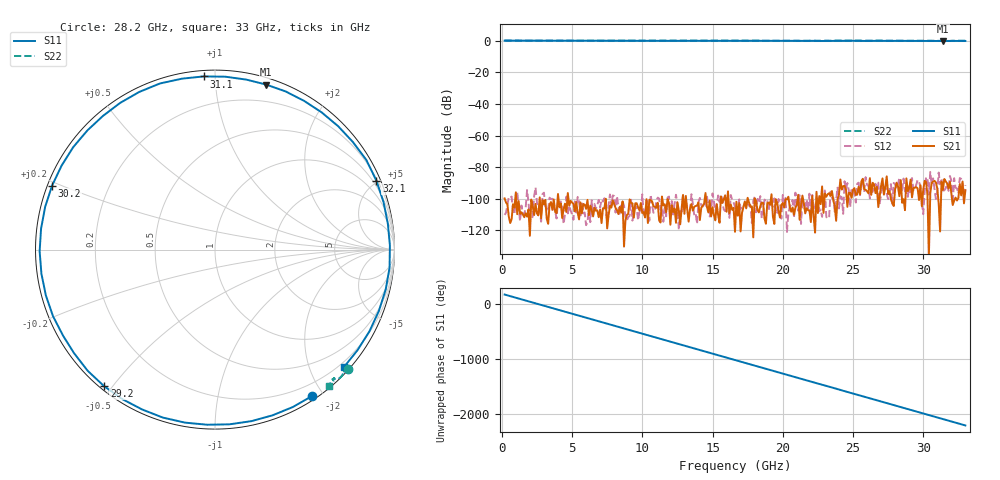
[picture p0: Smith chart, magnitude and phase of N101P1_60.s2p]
# GHZ S RI R 50
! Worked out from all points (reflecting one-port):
!   329 points, 200 MHz to 33 GHz, reference 50 ohm
!   lowest |S11| = -0.3 dB at 31.4 GHz (marker M1), VSWR 52.38, Z = 2.71 + j67.7 ohm
!   phase of S11 starts at 165 deg and turns -2368 deg over the sweep
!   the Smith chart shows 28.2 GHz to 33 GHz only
!   S11 on the Smith chart (normalised r, x): 28.2 GHz: 0.05, -1.86; 29.2 GHz: 0.01, -0.48; 30.2 GHz: 0.01, +0.19; 31.1 GHz: 0.03, +0.94; 32.1 GHz: 0.28, +4.88; 33 GHz: 0.11, -2.58
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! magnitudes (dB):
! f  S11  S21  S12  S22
! 200 MHz  0.0  -99.7  -110.2  0.0
! 5.7 GHz  -0.1  -109.1  -101.5  0.0
! 11.2 GHz  -0.2  -113.7  -99.8  0.0
! 16.6 GHz  -0.1  -120.9  -104.9  0.0
! 22.1 GHz  -0.2  -98.2  -97.5  -0.1
! 22.7 GHz  -0.2  -103.4  -106.7  -0.1
! 23 GHz  -0.2  -96.6  -94.7  0.0
! 23.3 GHz  -0.1  -96.4  -112.0  -0.1
! 23.5 GHz  -0.2  -95.1  -99.5  -0.1
! 24 GHz  -0.1  -97.5  -106.1  0.1
! 24.4 GHz  -0.1  -91.8  -89.0  0.0
! 24.9 GHz  -0.1  -99.4  -93.3  0.0
! 25.5 GHz  -0.2  -97.1  -97.7  0.0
! 27.6 GHz  -0.2  -95.1  -94.9  0.0
! 28.2 GHz  -0.2  -92.1  -90.9  0.0
! 29.2 GHz  -0.2  -99.0  -86.8  -0.1
! 30.2 GHz  -0.2  -89.2  -86.3  0.0
! 31.1 GHz  -0.3  -103.1  -83.4  -0.1
! 31.4 GHz  -0.3  -94.4  -94.8  -0.2
! 31.9 GHz  -0.2  -89.3  -85.5  -0.2
! 32.1 GHz  -0.2  -103.9  -103.2  -0.1
! 33 GHz  -0.2  -94.5  -91.3  -0.1
